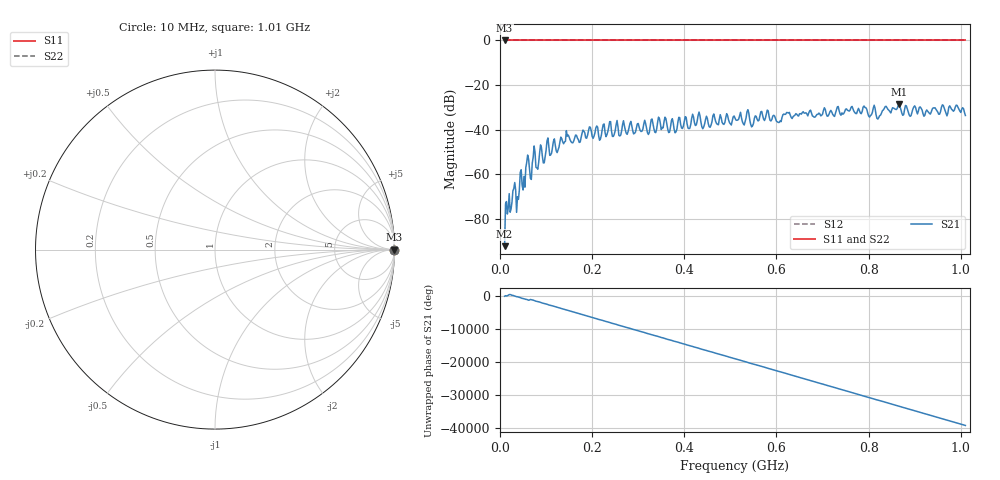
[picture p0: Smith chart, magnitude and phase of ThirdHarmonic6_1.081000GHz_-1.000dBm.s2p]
! 8/16/2025 9:56:11 AM
! C:\ANRITSUVNA\TEMP\TEMP.S2P
! CHANNEL.1
! TR.MEASUREMENT
! RAW.DATA
! RF.CORRECTION.OFF
! AVERAGING.OFF
! IF.BANDWIDTH: 5KHZ
! SWEEPTYPE:  FREQ.SWEEP(Linear)
! Reference Plane Port Info
! PORT:  PORT1  PORT2
! DISTANCE:  0  m  0  m
! TIME:  0  s  0  s
! PHASE.OFFSET:  0  deg.  0  deg.
! LOSS:  0  dB  0  dB
! REF.LOSS:  0  dB  0  dB
! REF.FREQ:  0  Hz  0  Hz
! Power Info
! POWER:  -20  dBm  -20  dBm
! EFF.POWER:  -20  dBm  -20  dBm
! SOURCE.ATTEN:  0  dB  0  dB
! TEST.ATTEN:  0  dB  0  dB
# GHZ S RI R 50.0
! FREQ.GHZ  S11RE  S11IM  S21RE  S21IM  S12RE  S12IM  S22RE  S22IM
!; PortSelection: Port_12
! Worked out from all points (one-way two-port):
!   501 points, 10 MHz to 1.01 GHz, reference 50 ohm
!   highest |S21| = -28.59 dB at 866 MHz (marker M1); lowest = -92.2 dB at 10 MHz (marker M2)
!   lowest |S11| = 0.0 dB at 10 MHz (marker M3)
!   |S11| at or under -10 dB: nowhere
!   |S22| runs from 0.0 to 0.0 dB; largest |S21 - S12| = 1
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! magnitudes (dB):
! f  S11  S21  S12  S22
! 10 MHz  0.0  -92.2  0.0  0.0
! 30 MHz  0.0  -66.3  0.0  0.0
! 38 MHz  0.0  -70.0  0.0  0.0
! 60 MHz  0.0  -51.3  0.0  0.0
! 68 MHz  0.0  -62.3  0.0  0.0
! 74 MHz  0.0  -47.3  0.0  0.0
! 82 MHz  0.0  -57.7  0.0  0.0
! 102 MHz  0.0  -45.0  0.0  0.0
! 178 MHz  0.0  -41.7  0.0  0.0
! 322 MHz  0.0  -42.1  0.0  0.0
! 344 MHz  0.0  -34.4  0.0  0.0
! 380 MHz  0.0  -41.4  0.0  0.0
! 432 MHz  0.0  -32.1  0.0  0.0
! 440 MHz  0.0  -39.5  0.0  0.0
! 510 MHz  0.0  -34.7  0.0  0.0
! 538 MHz  0.0  -31.0  0.0  0.0
! 546 MHz  0.0  -38.7  0.0  0.0
! 568 MHz  0.0  -31.8  0.0  0.0
! 678 MHz  0.0  -33.8  0.0  0.0
! 844 MHz  0.0  -31.3  0.0  0.0
! 866 MHz  0.0  -28.6  0.0  0.0
! 1.01 GHz  0.0  -33.6  0.0  0.0
